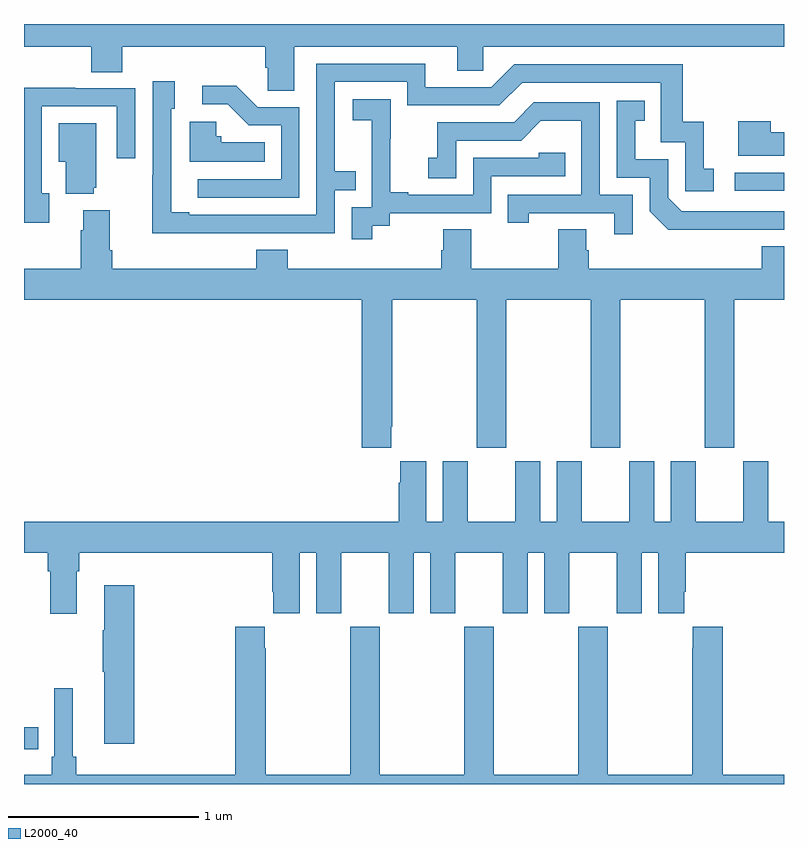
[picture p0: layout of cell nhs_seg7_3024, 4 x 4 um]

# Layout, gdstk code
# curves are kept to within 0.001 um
import gdstk
lib = gdstk.Library(unit=1e-6, precision=1e-09)
def R(c, l, rs):  # rectangles x0, y0, x1, y1
    for r in rs: c.add(gdstk.rectangle(r[:2], r[2:], *l))
def P(c, l, *ps):  # polygons
    for p in ps: c.add(gdstk.Polygon(p, *l))
L2000_40 = (2000, 40)

nhs_seg7_3024 = lib.new_cell('nhs_seg7_3024')
R(nhs_seg7_3024, L2000_40, [(303,1066.182,303.074,1066.298), (306.741,1069.122,307,1069.218)])
P(nhs_seg7_3024, L2000_40, [(304.423,1069.88),(305.279,1069.88),(305.279,1069.753),(305.418,1069.753),(305.418,1069.88),(307,1069.88),(307,1070),(303,1070),(303,1069.88),(303.353,1069.88),(303.353,1069.747),(303.518,1069.747),(303.518,1069.88),(304.271,1069.88),(304.271,1069.771),(304.284,1069.771),(304.284,1069.648),(304.423,1069.648)],
  [(304.139,1068.9),(304.635,1068.9),(304.635,1069.125),(304.745,1069.125),(304.745,1069.226),(304.635,1069.226),(304.635,1069.695),(305.016,1069.695),(305.016,1069.572),(305.502,1069.572),(305.622,1069.692),(306.351,1069.692),(306.351,1069.377),(306.48,1069.377),(306.48,1069.119),(306.631,1069.119),(306.631,1069.239),(306.578,1069.239),(306.578,1069.486),(306.467,1069.486),(306.467,1069.788),(305.58,1069.788),(305.46,1069.668),(305.113,1069.668),(305.113,1069.791),(304.539,1069.791),(304.539,1068.996),(303.871,1068.996),(303.871,1069.009),(303.774,1069.009),(303.774,1069.554),(303.793,1069.554),(303.793,1069.699),(303.678,1069.699),(303.678,1069.205),(303.676,1069.205),(303.676,1068.899)],
  [(304.449,1069.563),(304.23,1069.563),(304.117,1069.676),(303.939,1069.676),(303.939,1069.578),(304.073,1069.578),(304.184,1069.467),(304.353,1069.467),(304.353,1069.182),(303.915,1069.182),(303.915,1069.086),(304.449,1069.086)],
  [(303.133,1069.11),(303.093,1069.11),(303.093,1069.566),(303.489,1069.566),(303.489,1069.293),(303.585,1069.293),(303.585,1069.662),(303.269,1069.662),(303.269,1069.664),(303,1069.664),(303,1068.954),(303.133,1068.954)],
  [(304.834,1068.937),(304.926,1068.937),(304.926,1069.005),(305.46,1069.005),(305.46,1069.2),(305.849,1069.2),(305.849,1069.323),(305.709,1069.323),(305.709,1069.296),(305.364,1069.296),(305.364,1069.101),(305.023,1069.101),(305.023,1069.114),(304.928,1069.114),(304.928,1069.397),(304.929,1069.397),(304.929,1069.603),(304.731,1069.603),(304.731,1069.493),(304.829,1069.493),(304.829,1069.265),(304.83,1069.265),(304.83,1069.035),(304.725,1069.035),(304.725,1068.867),(304.834,1068.867)],
  [(306.8,1068.918),(307,1068.918),(307,1069.014),(306.462,1069.014),(306.39,1069.086),(306.39,1069.287),(306.217,1069.287),(306.217,1069.491),(306.266,1069.491),(306.266,1069.597),(306.12,1069.597),(306.12,1069.191),(306.294,1069.191),(306.294,1069.014),(306.303,1069.005),(306.392,1068.917)],
  [(306.204,1069.101),(306.03,1069.101),(306.03,1069.587),(305.684,1069.587),(305.579,1069.482),(305.176,1069.482),(305.176,1069.297),(305.127,1069.297),(305.127,1069.188),(305.274,1069.188),(305.274,1069.386),(305.616,1069.386),(305.72,1069.49),(305.934,1069.49),(305.934,1069.101),(305.545,1069.101),(305.545,1068.954),(305.656,1068.954),(305.656,1069.005),(306.107,1069.005),(306.107,1068.894),(306.204,1068.894)],
  [(307,1069.429),(306.929,1069.429),(306.929,1069.489),(306.758,1069.489),(306.758,1069.307),(307,1069.307)],
  [(304.268,1069.378),(304.038,1069.378),(304.038,1069.41),(304.011,1069.41),(304.011,1069.486),(303.872,1069.486),(303.872,1069.274),(304.268,1069.274)],
  [(303.368,1069.137),(303.379,1069.137),(303.379,1069.477),(303.182,1069.477),(303.182,1069.274),(303.221,1069.274),(303.221,1069.106),(303.368,1069.106)],
  [(305.355,1068.92),(305.207,1068.92),(305.207,1068.81),(305.195,1068.81),(305.195,1068.712),(304.388,1068.712),(304.388,1068.811),(304.223,1068.811),(304.223,1068.712),(303.464,1068.712),(303.464,1068.808),(303.451,1068.808),(303.451,1069.021),(303.311,1069.021),(303.311,1068.914),(303.299,1068.914),(303.299,1068.712),(303,1068.712),(303,1068.548),(304.778,1068.548),(304.778,1067.769),(304.933,1067.769),(304.933,1067.881),(304.938,1067.881),(304.938,1068.548),(305.383,1068.548),(305.383,1067.769),(305.538,1067.769),(305.538,1068.548),(305.983,1068.548),(305.983,1067.769),(306.138,1067.769),(306.138,1068.548),(306.583,1068.548),(306.583,1067.769),(306.738,1067.769),(306.738,1068.548),(307,1068.548),(307,1068.829),(306.884,1068.829),(306.884,1068.712),(305.972,1068.712),(305.972,1068.81),(305.959,1068.81),(305.959,1068.92),(305.812,1068.92),(305.812,1068.712),(305.355,1068.712)],
  [(303.277,1067.12),(303.29,1067.12),(303.29,1067.216),(304.307,1067.216),(304.307,1067.011),(304.313,1067.011),(304.313,1066.899),(304.45,1066.899),(304.45,1067.216),(304.538,1067.216),(304.538,1066.899),(304.669,1066.899),(304.669,1067.216),(304.919,1067.216),(304.919,1066.899),(305.05,1066.899),(305.05,1067.216),(305.138,1067.216),(305.138,1066.899),(305.269,1066.899),(305.269,1067.216),(305.519,1067.216),(305.519,1066.899),(305.65,1066.899),(305.65,1067.216),(305.738,1067.216),(305.738,1066.899),(305.869,1066.899),(305.869,1067.216),(306.119,1067.216),(306.119,1066.899),(306.25,1066.899),(306.25,1067.216),(306.338,1067.216),(306.338,1066.899),(306.475,1066.899),(306.475,1067.011),(306.482,1067.011),(306.482,1067.216),(307,1067.216),(307,1067.38),(306.916,1067.38),(306.916,1067.698),(306.785,1067.698),(306.785,1067.38),(306.535,1067.38),(306.535,1067.698),(306.404,1067.698),(306.404,1067.38),(306.316,1067.38),(306.316,1067.698),(306.185,1067.698),(306.185,1067.38),(305.935,1067.38),(305.935,1067.698),(305.804,1067.698),(305.804,1067.38),(305.716,1067.38),(305.716,1067.698),(305.585,1067.698),(305.585,1067.38),(305.335,1067.38),(305.335,1067.698),(305.204,1067.698),(305.204,1067.38),(305.116,1067.38),(305.116,1067.698),(304.979,1067.698),(304.979,1067.585),(304.973,1067.585),(304.973,1067.38),(303,1067.38),(303,1067.216),(303.125,1067.216),(303.125,1067.12),(303.137,1067.12),(303.137,1066.896),(303.277,1066.896)],
  [(303.581,1067.047),(303.422,1067.047),(303.422,1066.808),(303.415,1066.808),(303.415,1066.591),(303.422,1066.591),(303.422,1066.212),(303.581,1066.212)],
  [(307,1066.048),(306.677,1066.048),(306.677,1066.828),(306.521,1066.828),(306.521,1066.715),(306.517,1066.715),(306.517,1066.048),(306.072,1066.048),(306.072,1066.828),(305.917,1066.828),(305.917,1066.048),(305.472,1066.048),(305.472,1066.828),(305.317,1066.828),(305.317,1066.048),(304.872,1066.048),(304.872,1066.828),(304.717,1066.828),(304.717,1066.048),(304.272,1066.048),(304.272,1066.715),(304.267,1066.715),(304.267,1066.828),(304.112,1066.828),(304.112,1066.048),(303.275,1066.048),(303.275,1066.144),(303.256,1066.144),(303.256,1066.504),(303.159,1066.504),(303.159,1066.144),(303.146,1066.144),(303.146,1066.048),(303,1066.048),(303,1066),(307,1066)])

lib.write_gds('nhs_seg7_3024.gds')
